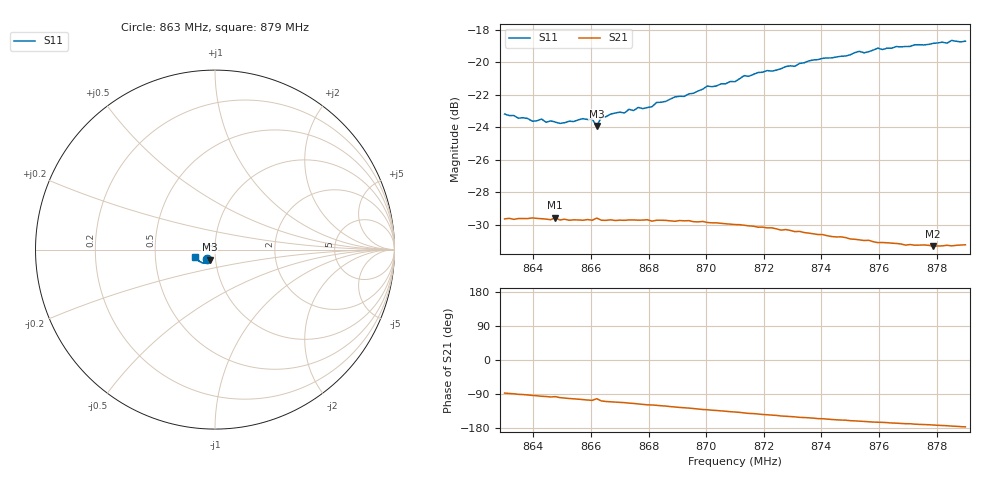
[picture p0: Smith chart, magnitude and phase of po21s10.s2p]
# HZ S RI R 50
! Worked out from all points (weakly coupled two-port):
!   101 points, 863 MHz to 879 MHz, reference 50 ohm
!   highest |S21| = -29.57 dB at 864.76 MHz (marker M1); lowest = -31.3 dB at 877.88 MHz (marker M2)
!   lowest |S11| = -23.9 dB at 866.2 MHz (marker M3), VSWR 1.14, Z = 46.9 - j5.36 ohm
!   |S11| at or under -10 dB: start of sweep to end of sweep
!   S12 and S22 are empty: the file has one direction only
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8.63e8  -0.0443 -0.0533  0.00156 -0.0329  0 0  0 0
8.6396e8  -0.0396 -0.0527  -0.00201 -0.0331  0 0  0 0
8.6428e8  -0.0383 -0.0549  -0.00325 -0.0329  0 0  0 0
8.6444e8  -0.0382 -0.0531  -0.00366 -0.0327  0 0  0 0
8.6476e8  -0.0369 -0.0541  -0.00387 -0.033  0 0  0 0
8.6572e8  -0.0347 -0.0575  -0.00814 -0.0316  0 0  0 0
8.6604e8  -0.0332 -0.058  -0.00931 -0.0313  0 0  0 0
8.662e8  -0.0287 -0.0569  -0.00698 -0.0324  0 0  0 0
8.6636e8  -0.0345 -0.0584  -0.0101 -0.031  0 0  0 0
8.6844e8  -0.0365 -0.0659  -0.0167 -0.0281  0 0  0 0
8.6956e8  -0.0402 -0.0696  -0.0199 -0.0255  0 0  0 0
8.7004e8  -0.0428 -0.073  -0.0212 -0.0242  0 0  0 0
8.71e8  -0.0481 -0.0727  -0.0232 -0.0215  0 0  0 0
8.7132e8  -0.0508 -0.0755  -0.024 -0.0204  0 0  0 0
8.7308e8  -0.0638 -0.0735  -0.0261 -0.0151  0 0  0 0
8.7372e8  -0.0691 -0.0746  -0.0265 -0.0133  0 0  0 0
8.7532e8  -0.0841 -0.068  -0.0269 -0.00907  0 0  0 0
8.7548e8  -0.0835 -0.0669  -0.0269 -0.00871  0 0  0 0
8.7596e8  -0.0892 -0.0655  -0.0268 -0.0076  0 0  0 0
8.7644e8  -0.092 -0.0613  -0.027 -0.00661  0 0  0 0
8.7788e8  -0.1033 -0.0491  -0.0269 -0.004  0 0  0 0
8.79e8  -0.1097 -0.0385  -0.0274 -0.00168  0 0  0 0
